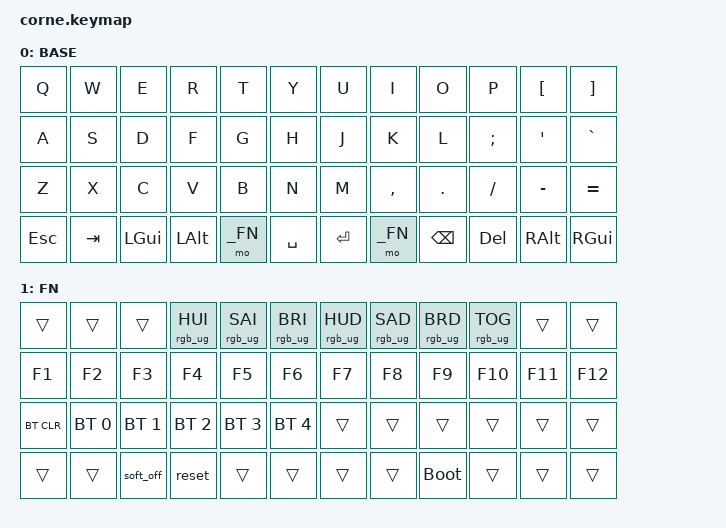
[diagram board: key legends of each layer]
/* config/corne.keymap
 *
 * Corne v3 Cherry + nice_nano_v2
 * USB-only, no external power behavior
 */

#include <behaviors.dtsi>
#include <dt-bindings/zmk/keys.h>
#include <dt-bindings/zmk/rgb_underglow.h>

#define _BASE 0
#define _FN   1

/ {
    keymap {
        compatible = "zmk,keymap";

        // ---------- Layer 0: Base ----------
        base_layer {
            label = "BASE";
            bindings = <
                // Row 1
                &kp Q      &kp W      &kp E      &kp R      &kp T      &kp Y         &kp U      &kp I      &kp O      &kp P      &kp LBKT   &kp RBKT
                // Row 2
                &kp A      &kp S      &kp D      &kp F      &kp G      &kp H         &kp J      &kp K      &kp L      &kp SCLN   &kp QUOT   &kp GRAVE
                // Row 3
                &kp Z      &kp X      &kp C      &kp V      &kp B      &kp N         &kp M      &kp COMMA  &kp DOT    &kp SLASH  &kp MINUS  &kp EQUAL
                // Thumbs
                &kp ESC    &kp TAB    &kp LGUI   &kp LALT   &mo _FN    &kp SPACE     &kp ENTER  &mo _FN    &kp BSPC   &kp DEL    &kp RALT   &kp RGUI
            >;
        };

        // ---------- Layer 1: FN / RGB / misc ----------
        fn_layer {
            label = "FN";
            bindings = <
                // Row 1: RGB controls
                &trans     &trans     &trans     &rgb_ug RGB_HUI  &rgb_ug RGB_SAI  &rgb_ug RGB_BRI
                &rgb_ug RGB_HUD  &rgb_ug RGB_SAD  &rgb_ug RGB_BRD  &rgb_ug RGB_TOG  &trans          &trans

                // Row 2: F-keys
                &kp F1     &kp F2     &kp F3     &kp F4     &kp F5     &kp F6        &kp F7     &kp F8     &kp F9     &kp F10    &kp F11    &kp F12

                // Row 3: BT slots (if you ever go wireless – harmless to keep)
                &bt BT_CLR &bt BT_SEL 0 &bt BT_SEL 1 &bt BT_SEL 2 &bt BT_SEL 3 &bt BT_SEL 4
                &trans     &trans       &trans       &trans       &trans       &trans

                // Thumbs: power / reset helpers
                &trans     &trans       &soft_off    &reset       &trans        &trans
                &trans     &trans       &bootloader  &trans       &trans        &trans
            >;
        };
    };
};
